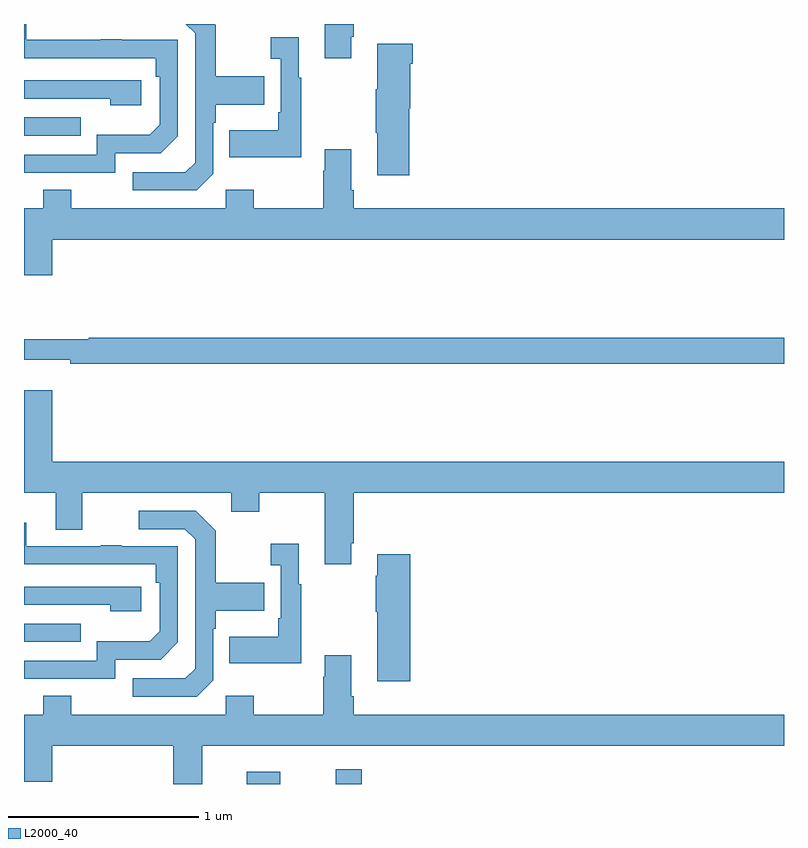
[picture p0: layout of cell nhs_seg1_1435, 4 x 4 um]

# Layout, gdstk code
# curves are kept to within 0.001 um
import gdstk
lib = gdstk.Library(unit=1e-6, precision=1e-09)
def R(c, l, rs):  # rectangles x0, y0, x1, y1
    for r in rs: c.add(gdstk.rectangle(r[:2], r[2:], *l))
def P(c, l, *ps):  # polygons
    for p in ps: c.add(gdstk.Polygon(p, *l))
L2000_40 = (2000, 40)

nhs_seg1_1435 = lib.new_cell('nhs_seg1_1435')
R(nhs_seg1_1435, L2000_40, [(190.172,550.199,190.348,550.264), (190.642,550.199,190.777,550.276), (189,550.947,189.299,551.043), (189,553.611,189.299,553.707)])
P(nhs_seg1_1435, L2000_40, [(190.723,554.131),(190.736,554.131),(190.736,554.199),(190.583,554.199),(190.583,554.019),(190.723,554.019)],
  [(189.996,553.41),(189.996,553.679),(190.009,553.679),(190.009,553.775),(190.265,553.775),(190.265,553.923),(190.009,553.923),(190.009,554.195),(190.005,554.199),(189.852,554.199),(189.9,554.151),(189.9,553.47),(189.849,553.419),(189.573,553.419),(189.573,553.323),(189.909,553.323)],
  [(189.48,553.518),(189.72,553.518),(189.81,553.608),(189.81,554.115),(189.515,554.115),(189.515,554.12),(189.403,554.12),(189.403,554.115),(189.013,554.115),(189.013,554.199),(189,554.199),(189,554.02),(189.694,554.019),(189.694,553.922),(189.714,553.922),(189.714,553.668),(189.661,553.615),(189.384,553.615),(189.384,553.512),(189,553.512),(189,553.416),(189.48,553.416)],
  [(190.459,553.915),(190.447,553.915),(190.447,554.128),(190.299,554.128),(190.299,554.015),(190.35,554.015),(190.35,553.735),(190.338,553.735),(190.338,553.639),(190.081,553.639),(190.081,553.499),(190.459,553.499)],
  [(191.027,553.755),(191.032,553.755),(191.032,553.991),(191.045,553.991),(191.045,554.095),(190.859,554.095),(190.859,553.855),(190.852,553.855),(190.852,553.627),(190.859,553.627),(190.859,553.404),(191.027,553.404)],
  [(189.616,553.902),(189,553.902),(189,553.806),(189.455,553.806),(189.455,553.772),(189.616,553.772)],
  [(189.148,553.064),(193,553.064),(193,553.228),(190.736,553.228),(190.736,553.324),(190.723,553.324),(190.723,553.54),(190.583,553.54),(190.583,553.427),(190.576,553.427),(190.576,553.228),(190.209,553.228),(190.209,553.327),(190.062,553.327),(190.062,553.228),(189.249,553.228),(189.249,553.327),(189.101,553.327),(189.101,553.228),(189,553.228),(189,552.876),(189.148,552.876)],
  [(193,552.548),(189.341,552.548),(189.341,552.541),(189,552.541),(189,552.431),(189.244,552.431),(189.244,552.412),(193,552.412)],
  [(190.723,551.467),(190.736,551.467),(190.736,551.732),(193,551.732),(193,551.896),(189.148,551.896),(189.148,552.271),(189,552.271),(189,551.732),(189.167,551.732),(189.167,551.538),(189.307,551.538),(189.307,551.732),(190.091,551.732),(190.091,551.633),(190.239,551.633),(190.239,551.732),(190.583,551.732),(190.583,551.355),(190.723,551.355)],
  [(189.996,550.746),(189.996,551.015),(190.009,551.015),(190.009,551.111),(190.265,551.111),(190.265,551.259),(190.009,551.259),(190.009,551.531),(189.903,551.637),(189.603,551.637),(189.603,551.541),(189.846,551.541),(189.9,551.487),(189.9,550.806),(189.849,550.755),(189.573,550.755),(189.573,550.659),(189.909,550.659)],
  [(189.48,550.854),(189.72,550.854),(189.81,550.944),(189.81,551.451),(189.515,551.451),(189.515,551.456),(189.403,551.456),(189.403,551.451),(189.013,551.451),(189.013,551.575),(189,551.575),(189,551.356),(189.694,551.355),(189.694,551.258),(189.714,551.258),(189.714,551.004),(189.661,550.951),(189.384,550.951),(189.384,550.848),(189,550.848),(189,550.752),(189.48,550.752)],
  [(190.459,551.251),(190.447,551.251),(190.447,551.464),(190.299,551.464),(190.299,551.351),(190.35,551.351),(190.35,551.071),(190.338,551.071),(190.338,550.975),(190.081,550.975),(190.081,550.835),(190.459,550.835)],
  [(191.032,551.407),(190.859,551.407),(190.859,551.294),(190.852,551.294),(190.852,551.105),(190.859,551.105),(190.859,550.74),(191.032,550.74)],
  [(189.616,551.238),(189,551.238),(189,551.142),(189.455,551.142),(189.455,551.108),(189.616,551.108)],
  [(189.937,550.4),(193,550.4),(193,550.564),(190.736,550.564),(190.736,550.66),(190.723,550.66),(190.723,550.876),(190.583,550.876),(190.583,550.763),(190.576,550.763),(190.576,550.564),(190.209,550.564),(190.209,550.663),(190.062,550.663),(190.062,550.564),(189.249,550.564),(189.249,550.663),(189.101,550.663),(189.101,550.564),(189,550.564),(189,550.212),(189.148,550.212),(189.148,550.4),(189.785,550.4),(189.785,550.199),(189.937,550.199)])

lib.write_gds('nhs_seg1_1435.gds')
